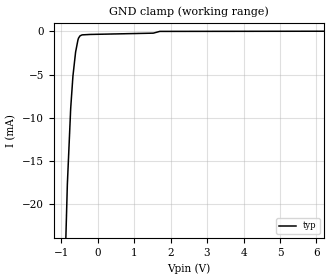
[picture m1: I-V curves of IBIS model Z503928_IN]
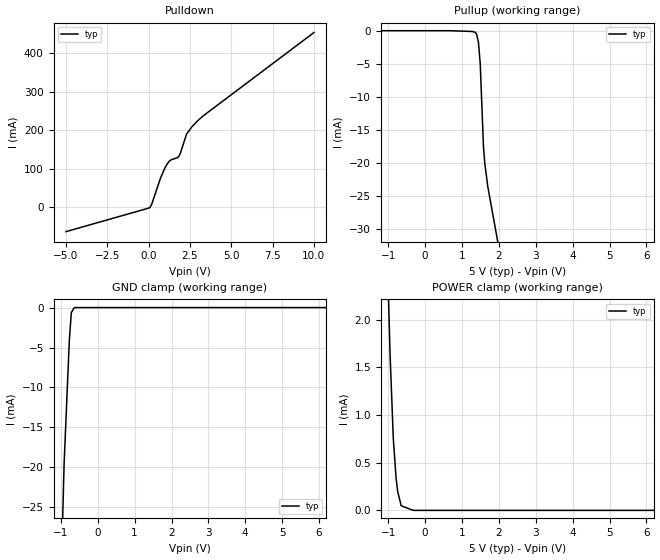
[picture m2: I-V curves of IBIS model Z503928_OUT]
| YOU ARE ONLY AUTHORIZED TO USE THIS SOFTWARE
| ACCORDING TO LICENSOR'S LICENSE RESTRICTIONS.
[IBIS Ver] 3.1
[File Name] mc54f280j.ibs
[File Rev] 2.0
[Source] Measured and created by ICX Technology
[Date] Friday 7/14/00 9:08:03 AM
[Copyright]
| (C) COPYRIGHT 1993-2000
| MENTOR GRAPHICS CORPORATION
| ICX STANDARD LIBRARY, ICX PROJECT MODELING,
| ICX CUSTOM MODELING, ICX VENDOR MODEL
| ALL RIGHTS RESERVED.
| THE FOLLOWING ARE TRADEMARKS OR SERVICE MARKS OF
| MENTOR GRAPHICS CORPORATION:ICX (R), ICX STANDARD
| LIBRARY(R), ICX PROJECT MODELING(R), ICX CUSTOM
| MODELING(R), qualityIBIS(TM), MODELVIEWER(TM),
| AND MODELEDITOR(TM)
| ALL COPIES OF SOFTWARE, INCLUDING BUT NOT LIMITED TO
| ANY MODIFICATIONS, ENHANCEMENTS OR DERIVATIVE WORKS,
| MUST CONTAIN ALL MENTOR GRAPHICS CORPORATION'S
| NOTICES AND LEGENDS, INCLUDING THOSE EMBEDDED IN
| SOFTWARE AND THOSE AFFIXED TO SOFTWARE MEDIUM
| AND CONTAINER, AS RECEIVED FROM MENTOR GRAPHICS
| CORPORATION.
|  ZAP Model Builder 2.7
[Component] MC54F280J
[Manufacturer] OnSemiconductor
[Package]
| variable   typ   min   max
R_pkg  .21ohms NA NA
L_pkg  4.543nH NA NA
C_pkg  1.8pF NA NA
[Pin] signal_name  model_name  R_pin  L_pin C_pin
1 G Z503928_IN .22 6.757n 2.434p
2 H Z503928_IN .212 4.757n 1.941p
3 NC NC .204 3.257n 1.448p
4 I Z503928_IN .196 2.257n .955p
5 EVEN Z503928_OUT .204 3.257n 1.448p
6 _ODD Z503928_OUT .212 4.757n 1.941p
7 GND GND .22 6.757n 2.434p
8 A Z503928_IN .22 6.757n 2.434p
9 B Z503928_IN .212 4.757n 1.941p
10 C Z503928_IN .204 3.257n 1.448p
11 D Z503928_IN .196 2.257n .955p
12 E Z503928_IN .204 3.257n 1.448p
13 F Z503928_IN .212 4.757n 1.941p
14 VCC POWER .22 6.757n 2.434p
| Models and submodels in the file (2): Z503928_IN (Input), Z503928_OUT (Output)
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| (C) COPYRIGHT 1993-2000
| MENTOR GRAPHICS CORPORATION
| ICX STANDARD LIBRARY, ICX PROJECT MODELING,
| ICX CUSTOM MODELING, ICX VENDOR MODEL
| ALL RIGHTS RESERVED.
| THE FOLLOWING ARE TRADEMARKS OR SERVICE MARKS OF
| MENTOR GRAPHICS CORPORATION:ICX (R), ICX STANDARD
| LIBRARY(R), ICX PROJECT MODELING(R), ICX CUSTOM
| MODELING(R), qualityIBIS(TM), MODELVIEWER(TM),
| AND MODELEDITOR(TM)
| ALL COPIES OF SOFTWARE, INCLUDING BUT NOT LIMITED TO
| ANY MODIFICATIONS, ENHANCEMENTS OR DERIVATIVE WORKS,
| MUST CONTAIN ALL MENTOR GRAPHICS CORPORATION'S
| NOTICES AND LEGENDS, INCLUDING THOSE EMBEDDED IN
| SOFTWARE AND THOSE AFFIXED TO SOFTWARE MEDIUM
| AND CONTAINER, AS RECEIVED FROM MENTOR GRAPHICS
| CORPORATION.
| Model Application Version 1.89 2/18/99.
[Model] Z503928_IN
Model_type Input
Vinl = 800.0mV
Vinh = 2.000V
C_comp 4.000pF NA NA
| variable typ   min   max
[Voltage Range] 5.000V NA NA
[GND Clamp Reference] 0.000V NA NA
[POWER Clamp Reference] 5.000V NA NA
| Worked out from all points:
|   GND clamp passes 1 mA (typ) near -0.54 V on its own axis
[GND Clamp]
-5V       -645.2mA   NA         NA
-828.9mV  -17.65mA   NA         NA
-737.3mV  -8.873mA   NA         NA
-676.4mV  -5.185mA   NA         NA
-603.2mV  -2.402mA   NA         NA
-538.9mV  -1.004mA   NA         NA
-522.5mV  -784.5uA   NA         NA
-480.7mV  -521.7uA   NA         NA
-424.7mV  -413.7uA   NA         NA
1.527V    -213.8uA   NA         NA
1.704V    -11uA      NA         NA
10V       25.82uA    NA         NA
[POWER Clamp]
-5V       0A         NA         NA
10V       0A         NA         NA
| (C) COPYRIGHT 1993-2000
| MENTOR GRAPHICS CORPORATION
| ICX STANDARD LIBRARY, ICX PROJECT MODELING,
| ICX CUSTOM MODELING, ICX VENDOR MODEL
| ALL RIGHTS RESERVED.
| THE FOLLOWING ARE TRADEMARKS OR SERVICE MARKS OF
| MENTOR GRAPHICS CORPORATION:ICX (R), ICX STANDARD
| LIBRARY(R), ICX PROJECT MODELING(R), ICX CUSTOM
| MODELING(R), qualityIBIS(TM), MODELVIEWER(TM),
| AND MODELEDITOR(TM)
| ALL COPIES OF SOFTWARE, INCLUDING BUT NOT LIMITED TO
| ANY MODIFICATIONS, ENHANCEMENTS OR DERIVATIVE WORKS,
| MUST CONTAIN ALL MENTOR GRAPHICS CORPORATION'S
| NOTICES AND LEGENDS, INCLUDING THOSE EMBEDDED IN
| SOFTWARE AND THOSE AFFIXED TO SOFTWARE MEDIUM
| AND CONTAINER, AS RECEIVED FROM MENTOR GRAPHICS
| CORPORATION.
| Model Application Version 1.89 2/18/99.
[Model] Z503928_OUT
Model_type Output
Vref=0.000V
Rref=500.0ohms
Cref=50.00pF
Vmeas=1.500V
C_comp 8.000pF NA NA
| variable typ   min   max
[Voltage Range] 5.000V NA NA
[POWER Clamp Reference] 5.000V NA NA
[Pullup Reference] 5.000V NA NA
[Pulldown Reference] 0.000V NA NA
[GND Clamp Reference] 0.000V NA NA
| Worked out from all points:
|   slope of the pulldown table from 0 to 0.75 V, typ, clamps not added: 9.26 ohm
|   slope of the pullup table from 0 to 0.75 V, typ, clamps not added: 37 kohm
|   GND clamp passes 1 mA (typ) near -0.72 V on its own axis
|   POWER clamp passes 1 mA (typ) near -0.89 V on its own axis
[GND Clamp]
-5V       -1.387A    NA         NA
-1.177V   -80.97mA   NA         NA
-1.011V   -36.94mA   NA         NA
-913mV    -19.53mA   NA         NA
-771.4mV  -4.109mA   NA         NA
-717.5mV  -637uA     NA         NA
-637.8mV  0A         NA         NA
10V       0A         NA         NA
[Pulldown]
-5V       -63.15mA   NA         NA
87.85mV   155.8uA    NA         NA
234.4mV   13.88mA    NA         NA
724.9mV   76.34mA    NA         NA
957.8mV   99.58mA    NA         NA
1.294V    121.6mA    NA         NA
1.82V     131.7mA    NA         NA
1.914V    139.8mA    NA         NA
2.295V    190.2mA    NA         NA
2.9V      222.2mA    NA         NA
3.282V    237mA      NA         NA
10V       454.1mA    NA         NA
[Pullup]
-5V       14.72uA    NA         NA
643mV     14.72uA    NA         NA
1.279V    -105.9uA   NA         NA
1.362V    -242.2uA   NA         NA
1.397V    -541.8uA   NA         NA
1.445V    -1.729mA   NA         NA
1.494V    -5.031mA   NA         NA
1.582V    -17.64mA   NA         NA
1.618V    -20.1mA    NA         NA
1.699V    -23.6mA    NA         NA
10V       -279.9mA   NA         NA
[POWER Clamp]
-5V       66.64mA    NA         NA
-1.094V   3.602mA    NA         NA
-952mV    1.635mA    NA         NA
-864mV    748.8uA    NA         NA
-789mV    339.2uA    NA         NA
-747mV    201.2uA    NA         NA
-650mV    47.61uA    NA         NA
-325mV    0A         NA         NA
10V       0A         NA         NA
[Ramp]
| variable typ min max
dV/dt_r 2.048/5.012n NA NA
dV/dt_f 2.048/1.746n NA NA
R_load = 500.0Ohms
